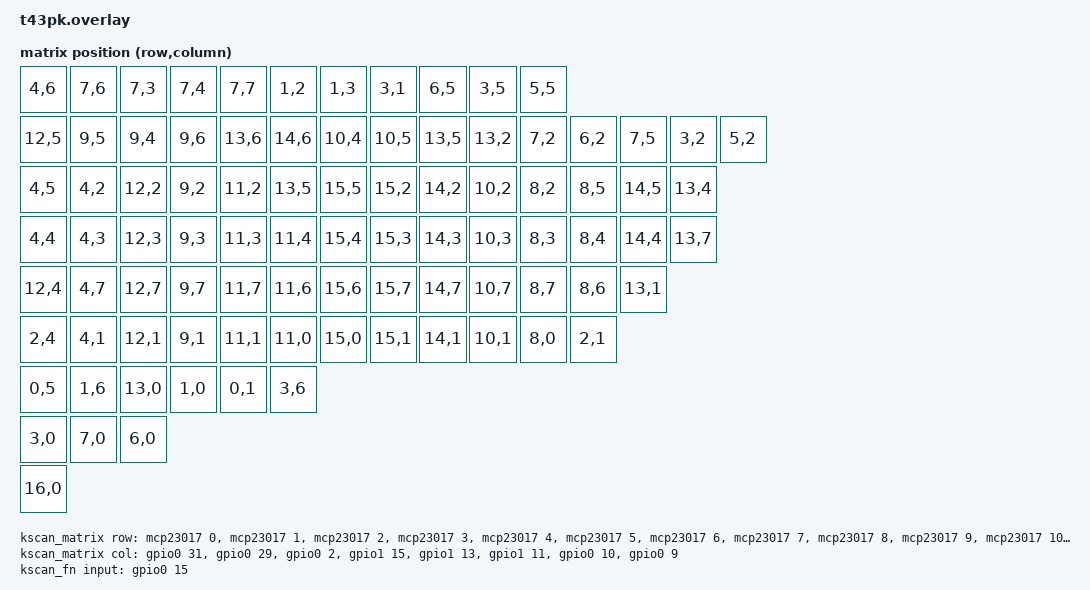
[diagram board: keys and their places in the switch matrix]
#include <dt-bindings/zmk/matrix_transform.h>
#include <dt-bindings/zmk/ext_power.h>

/*针对指点设备，启用UART*/
#define MOUSE_PS2_DRIVER_UART
/*配置UART的频率
// 需要尝试一下频率进行适配
//   - 14400 ( 69 us cycle length   /   14.5kHz)
//   -  9600 (100 us cycle length   /   10.0kHz)
//   - 19200 ( 52 us cycle length   /   19kHz) */
#define MOUSE_PS2_UART_BAUD_RATE <14400>

//原始的代码使用了低速引脚
#define MOUSE_PS2_PIN_SCL_PRO_MICRO <&pro_micro 4 GPIO_ACTIVE_HIGH>    
#define MOUSE_PS2_PIN_SDA_PRO_MICRO <&pro_micro 5 GPIO_ACTIVE_HIGH>

/*如果有复位电路控制，这个代码可以注释掉*/
#define MOUSE_PS2_PIN_RST_PRO_MICRO <&pro_micro 9 GPIO_ACTIVE_HIGH>

/*配置SDA */
#define MOUSE_PS2_PIN_SDA_PINCTRL <NRF_PSEL(UART_RX, 0, 9)>




/* I2C + MCP23017 配置 */
&i2c0 {
    status = "okay";
    clock-frequency = <I2C_BITRATE_FAST>;
    pinctrl-names = "default", "sleep";
    pinctrl-0 = <&i2c0_default>;
    pinctrl-1 = <&i2c0_sleep>;

    mcp23017: mcp23017@20 {
        status = "okay";
        compatible = "microchip,mcp230xx";
        ngpios = <16>;
        int-gpios = <&gpio1 6 (GPIO_ACTIVE_LOW | GPIO_PULL_UP)>;
        reg = <0x20>;
        gpio-controller;
        #gpio-cells = <2>;

        /* 关键：启用中断以节省电量并减少空闲延迟 */
      //   interrupt-parent = <&gpio0>;
    //     /* MCP23017 INT 引脚通常是开漏、低电平有效，所以需要 PULL_UP */
        /* 假设 INT A/B 连到了 P0.28，低电平触发 */
     //    interrupts = <28 (GPIO_ACTIVE_LOW | GPIO_PULL_UP)>;
    //   //  interrupt-parent = <&gpio0>;
    //   //  interrupts = <17 1>;   /* IRQ_TYPE_EDGE_FALLING */
    };
};


/* SDA/SCL 的 pinctrl */
&pinctrl {
    i2c0_default: i2c0_default {
        group1 {
            psels = <NRF_PSEL(TWIM_SDA, 0, 6)>,   // P0.06 作为 I2C SDA
                    <NRF_PSEL(TWIM_SCL, 0, 8)>;   // P0.08 作为 I2C SCL
            bias-pull-up;
            nordic,drive-mode = <NRF_DRIVE_S0D1>;
        };
    };

    i2c0_sleep: i2c0_sleep {
        group1 {
            psels = <NRF_PSEL(TWIM_SDA, 0, 6)>,   // P0.06 作为 I2C SDA
                    <NRF_PSEL(TWIM_SCL, 0, 8)>;   // P0.08 作为 I2C SCL
            bias-pull-up;
        };
    };

/*
    // This pinctrl state is used for receiving
	// For `UART_TX`, set an unused and unexposed pin
	// For `UART_RX`, set the PS/2 SDA pin number
	uart0_ps2_default: uart0_ps2_default {
		group1 {
			psels = (MOUSE_PS2_PIN_UNEXPOSED_TX,
					MOUSE_PS2_PIN_SDA_PINCTRL);
		};
	};

	// Set this to the same pins as uart0_ps2_default
	uart0_ps2_sleep: uart0_ps2_sleep {
		group1 {
			psels = (MOUSE_PS2_PIN_UNEXPOSED_TX,
					MOUSE_PS2_PIN_SDA_PINCTRL);
			low-power-enable;
		};
	};

	// The nrf52 UART controller is not compatible with the PS/2
	// transmission frame. So the PS/2 UART driver doesn't use UART for
	// transmissions and instead use GPIO bit-banging.
	//
	// When the driver switches to transmit mode, it frees up the SDA pin by
    // switching the UART controller to unexposed/unused pins.
	//
	// Then it configures the GPIO controller to use the SCL and SDA pins
	uart0_ps2_off: uart0_ps2_off {
		group1 {
			psels = (MOUSE_PS2_PIN_UNEXPOSED_TX,
					MOUSE_PS2_PIN_UNEXPOSED_RX);
		};
	};
    */

};

/*
 * PS/2 Mouse / Trackpoint - Device Definitions
 *
 * WARNING: Do not change anything beyond here unless you know what you are
 *          doing.
 */

/*
// Firmware with alternative pins
//
// This can safely be removed. It's only used in the example zmk-config repo
// to create an additional firmware with alternative PIN assignments.
//
// You can leave it or remove in your own zmk config. If you remove it, you
// should also remove the entry in `zmk-config-example/build.yaml` that uses
// it.
#ifdef MOUSE_PS2_ALT_PINS
    #undef MOUSE_PS2_PIN_SCL_PRO_MICRO
    #undef MOUSE_PS2_PIN_SDA_PRO_MICRO
    #undef MOUSE_PS2_PIN_SDA_PINCTRL

    #define MOUSE_PS2_PIN_SCL_PRO_MICRO <&pro_micro 1 GPIO_ACTIVE_HIGH>
    #define MOUSE_PS2_PIN_SDA_PRO_MICRO <&pro_micro 0 GPIO_ACTIVE_HIGH>
    #define MOUSE_PS2_PIN_SDA_PINCTRL <NRF_PSEL(UART_RX, 0, 8)>
#endif

// This define can be used in the keymap file to check whether the device tree
// configs in this file are present to void build errors on the side that does
// not have the mouse or TP
#define MOUSE_PS2_DT_PRESENT




#ifdef MOUSE_PS2_DRIVER_UART

    &uart0 {
        status = "disabled";
        compatible = "nordic,nrf-uarte";

        current-speed = MOUSE_PS2_UART_BAUD_RATE;
        pinctrl-0 = <&uart0_ps2_default>;
        pinctrl-1 = <&uart0_ps2_off>;

        pinctrl-names = "default", "sleep";

        uart_ps2: uart_ps2 {
            status="disabled";
            compatible = "uart-ps2";
            scl-gpios = MOUSE_PS2_PIN_SCL_PRO_MICRO;
            sda-gpios = MOUSE_PS2_PIN_SDA_PRO_MICRO;
        };
    };

#else

    / {
        gpio_ps2: gpio_ps2 {
            status = "disabled";

            compatible = "gpio-ps2";
            scl-gpios = MOUSE_PS2_PIN_SCL_PRO_MICRO;
            sda-gpios = MOUSE_PS2_PIN_SDA_PRO_MICRO;
        };
    };

#endif


/ {
    mouse_ps2: mouse_ps2 {
		status = "disabled";
        compatible = "zmk,input-mouse-ps2";

#ifdef MOUSE_PS2_DRIVER_UART
	    ps2-device = <&uart_ps2>;
#else
	    ps2-device = <&gpio_ps2>;
#endif

#ifdef MOUSE_PS2_PIN_RST_PRO_MICRO
        rst-gpios = MOUSE_PS2_PIN_RST_PRO_MICRO;
#endif
    };

    mouse_ps2_input_listener: mouse_ps2_input_listener {
        compatible = "zmk,input-listener-ps2";
        status = "disabled";

        device = <&mouse_ps2>;

		// Some of the available settings depend on the keymap. So they
		// are adjusted in...
		// zmk-config/config/includes/mouse_tp.dtsi
    };
};
*/

/ {
    chosen {
        zmk,kscan = &kscan0;  
        zmk,matrix-transform  = &transform0;
    };

    /*power键作为开关机*/ 
    keys {
        compatible = "gpio-keys";
        soft_off_gpio_key: soft_off_gpio_key {
            gpios = <&gpio0 17 (GPIO_ACTIVE_LOW | GPIO_PULL_UP)>;
        };
    };

    


    
    /* 键盘扫描矩阵（8 列 + 16 行） */
    kscan0: kscan_composite {
        compatible = "zmk,kscan-composite";
        label = "KSCAN_COMPOSITE";
        diode-direction = "col2row";   //二级管方向，非常重要，方向错误无法使用
        
        rows = <17>;     // 原矩阵16行 + (Fn键 power键) 占1行
        columns = <8>;   // 保持8列

        //主矩阵
        matix {
            kscan = <&kscan_matrix>;

        };

        //fn 键（直连GPIO）
        fn_key {
            kscan = <&kscan_fn>;
            row-offset = <16>;// 偏移量：让 Fn 键在逻辑上位于 "第16行" (从0开始数就是第17行)
        };

    };

    /* 2. 原来的矩阵配置 (改名为 kscan_matrix) */
    kscan_matrix: kscan_matrix {
        compatible = "zmk,kscan-gpio-matrix";
        diode-direction = "col2row";
       
        /* 主控本地 8 列 */
        col-gpios =
            <&gpio0 31 (GPIO_ACTIVE_HIGH | GPIO_PULL_DOWN)>,
            <&gpio0 29 (GPIO_ACTIVE_HIGH | GPIO_PULL_DOWN)>,
            <&gpio0  2 (GPIO_ACTIVE_HIGH | GPIO_PULL_DOWN)>,
            <&gpio1 15 (GPIO_ACTIVE_HIGH | GPIO_PULL_DOWN)>,
            <&gpio1 13 (GPIO_ACTIVE_HIGH | GPIO_PULL_DOWN)>,
            <&gpio1 11 (GPIO_ACTIVE_HIGH | GPIO_PULL_DOWN)>,
            <&gpio0 10 (GPIO_ACTIVE_HIGH | GPIO_PULL_DOWN)>,
            <&gpio0  9 (GPIO_ACTIVE_HIGH | GPIO_PULL_DOWN)>;

        /* MCP23017 的 16 行 */
        row-gpios =
            <&mcp23017  0 GPIO_ACTIVE_HIGH>, <&mcp23017  1 GPIO_ACTIVE_HIGH>,
            <&mcp23017  2 GPIO_ACTIVE_HIGH>, <&mcp23017  3 GPIO_ACTIVE_HIGH>,
            <&mcp23017  4 GPIO_ACTIVE_HIGH>, <&mcp23017  5 GPIO_ACTIVE_HIGH>,
            <&mcp23017  6 GPIO_ACTIVE_HIGH>, <&mcp23017  7 GPIO_ACTIVE_HIGH>,
            <&mcp23017  8 GPIO_ACTIVE_HIGH>, <&mcp23017  9 GPIO_ACTIVE_HIGH>,
            <&mcp23017 10 GPIO_ACTIVE_HIGH>, <&mcp23017 11 GPIO_ACTIVE_HIGH>,
            <&mcp23017 12 GPIO_ACTIVE_HIGH>, <&mcp23017 13 GPIO_ACTIVE_HIGH>,
            <&mcp23017 14 GPIO_ACTIVE_HIGH>, <&mcp23017 15 GPIO_ACTIVE_HIGH>;
    };

    kscan_fn: kscan_fn {
        compatible = "zmk,kscan-gpio-direct";
        label = "KSCAN_FN";
        toggle-mode; // 根据需要保留或删除，通常直连键不需要这个属性除非是开关
        
        // 配置 Fn 引脚 (假设是 P0.15, 低电平触发)
        input-gpios = <&gpio0 15 (GPIO_ACTIVE_LOW | GPIO_PULL_UP)>;
    };

    /* ZMK 键位矩阵映射转换 */
    transform0: matrix_transform  {
        compatible = "zmk,matrix-transform";
        columns = <8>;
        rows = <17>;
      /*  map = <
            RC(0,0) RC(0,1) RC(0,2) RC(0,3) RC(0,4) RC(0,5) RC(0,6) RC(0,7)
            RC(1,0) RC(1,1) RC(1,2) RC(1,3) RC(1,4) RC(1,5) RC(1,6) RC(1,7)
            RC(2,0) RC(2,1) RC(2,2) RC(2,3) RC(2,4) RC(2,5) RC(2,6) RC(2,7)
            RC(3,0) RC(3,1) RC(3,2) RC(3,3) RC(3,4) RC(3,5) RC(3,6) RC(3,7)
            RC(4,0) RC(4,1) RC(4,2) RC(4,3) RC(4,4) RC(4,5) RC(4,6) RC(4,7)
            RC(5,0) RC(5,1) RC(5,2) RC(5,3) RC(5,4) RC(5,5) RC(5,6) RC(5,7)
            RC(6,0) RC(6,1) RC(6,2) RC(6,3) RC(6,4) RC(6,5) RC(6,6) RC(6,7)
            RC(7,0) RC(7,1) RC(7,2) RC(7,3) RC(7,4) RC(7,5) RC(7,6) RC(7,7)
            RC(8,0) RC(8,1) RC(8,2) RC(8,3) RC(8,4) RC(8,5) RC(8,6) RC(8,7)
            RC(9,0) RC(9,1) RC(9,2) RC(9,3) RC(9,4) RC(9,5) RC(9,6) RC(9,7)
            RC(10,0) RC(10,1) RC(10,2) RC(10,3) RC(10,4) RC(10,5) RC(10,6) RC(10,7)
            RC(11,0) RC(11,1) RC(11,2) RC(11,3) RC(11,4) RC(11,5) RC(11,6) RC(11,7)
            RC(12,0) RC(12,1) RC(12,2) RC(12,3) RC(12,4) RC(12,5) RC(12,6) RC(12,7)
            RC(13,0) RC(13,1) RC(13,2) RC(13,3) RC(13,4) RC(13,5) RC(13,6) RC(13,7)
            RC(14,0) RC(14,1) RC(14,2) RC(14,3) RC(14,4) RC(14,5) RC(14,6) RC(14,7)
            RC(15,0) RC(15,1) RC(15,2) RC(15,3) RC(15,4) RC(15,5) RC(15,6) RC(15,7) 
        >; */

        map =<
            RC(4,6)  RC(7,6) RC(7,3) RC(7,4) RC(7,7) RC(1,2) RC(1,3) RC(3,1) RC(6,5) RC(3,5) RC(5,5)
            RC(12,5) RC(9,5) RC(9,4) RC(9,6) RC(13,6) RC(14,6) RC(10,4) RC(10,5) RC(13,5) RC(13,2) RC(7,2) RC(6,2) RC(7,5) RC(3,2) RC(5,2)
            RC(4,5) RC(4,2) RC(12,2) RC(9,2) RC(11,2) RC(13,5) RC(15,5) RC(15,2) RC(14,2) RC(10,2) RC(8,2) RC(8,5) RC(14,5) RC(13,4)
            RC(4,4) RC(4,3) RC(12,3) RC(9,3) RC(11,3) RC(11,4) RC(15,4) RC(15,3) RC(14,3) RC(10,3) RC(8,3) RC(8,4) RC(14,4) RC(13,7)
            RC(12,4) RC(4,7) RC(12,7) RC(9,7) RC(11,7) RC(11,6) RC(15,6) RC(15,7) RC(14,7) RC(10,7) RC(8,7) RC(8,6) RC(13,1)
            RC(2,4) RC(4,1) RC(12,1) RC(9,1) RC(11,1) RC(11,0) RC(15,0) RC(15,1) RC(14,1) RC(10,1) RC(8,0) RC(2,1)
            RC(0,5) RC(1,6) RC(13,0) RC(1,0) RC(0,1) RC(3,6) 
            RC(3,0) RC(7,0) RC(6,0)
            RC(16,0)
            >;
    };  
};

